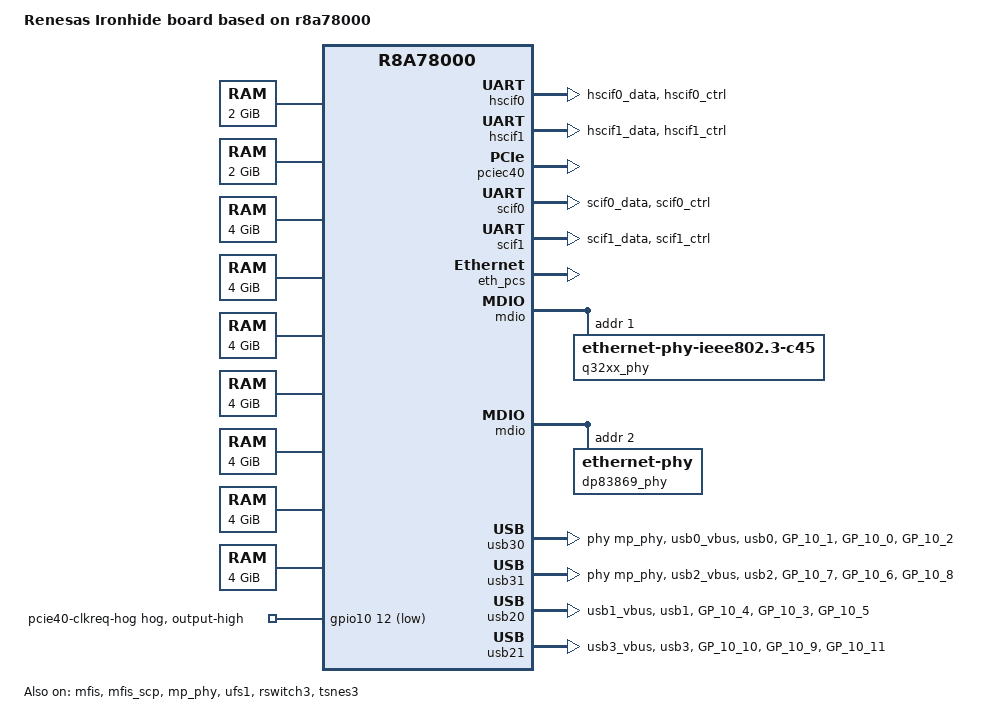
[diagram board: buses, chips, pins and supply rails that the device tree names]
// SPDX-License-Identifier: (GPL-2.0-only OR BSD-2-Clause)
/*
 * Device Tree Source for the Ironhide board
 *
 * Copyright (C) 2025 Renesas Electronics Corp.
 */

/dts-v1/;
#include <dt-bindings/phy/phy.h>
#include <dt-bindings/soc/renesas,r8a78000-mfis.h>
#include <dt-bindings/net/ti-dp83869.h>
#include "r8a78000.dtsi"

/ {
	model = "Renesas Ironhide board based on r8a78000";
	compatible = "renesas,ironhide", "renesas,r8a78000";

	aliases {
		serial0 = &hscif0;
		serial1 = &hscif1;
		serial2 = &scif0;	// FIXME
		serial3 = &scif1;	// FIXME
	};

	chosen {
		stdout-path = "serial0:1843200n8";
	};

	firmware {
		scmi: scmi {
			compatible = "arm,scmi";
			mboxes = <&mfis_scp 2 MFIS_CHANNEL_TX>,
				 <&mfis_scp 2 MFIS_CHANNEL_RX>;
			mbox-names = "tx", "rx";
			shmem = <&scmi_tx_shmem>, <&scmi_rx_shmem>;
			arm,no-completion-irq;
			#address-cells = <1>;
			#size-cells = <0>;

			scmi_devpd: protocol@11 {
				reg = <0x11>;
				#power-domain-cells = <1>;
			};

			scmi_sys: protocol@12 {
				reg = <0x12>;
			};

			scmi_clk: protocol@14 {
				reg = <0x14>;
				#clock-cells = <1>;
			};

			scmi_reset: protocol@16 {
				reg = <0x16>;
				#reset-cells = <1>;
			};
		};
	};

	memory@40000000 {
		device_type = "memory";
		reg = <0x0 0x40000000 0x0 0x80000000>;
	};

	memory@1080000000 {
		device_type = "memory";
		reg = <0x10 0x80000000 0x0 0x80000000>;
	};

	memory@1200000000 {
		device_type = "memory";
		reg = <0x12 0x00000000 0x1 0x00000000>;
	};

	memory@1400000000 {
		device_type = "memory";
		reg = <0x14 0x00000000 0x1 0x00000000>;
	};

	memory@1600000000 {
		device_type = "memory";
		reg = <0x16 0x00000000 0x1 0x00000000>;
	};

	memory@1800000000 {
		device_type = "memory";
		reg = <0x18 0x00000000 0x1 0x00000000>;
	};

	memory@1a00000000 {
		device_type = "memory";
		reg = <0x1a 0x00000000 0x1 0x00000000>;
	};

	memory@1c00000000 {
		device_type = "memory";
		reg = <0x1c 0x00000000 0x1 0x00000000>;
	};

	memory@1e00000000 {
		device_type = "memory";
		reg = <0x1e 0x00000000 0x1 0x00000000>;
	};

	reserved-memory {
		#address-cells = <2>;
		#size-cells = <2>;
		ranges;

		/* First 518 MiB is reserved for other purposes. */
		firmware@40000000 {
			reg = <0x0 0x40000000 0x0 0x20600000>;
			no-map;
		};

		/* Parameters set by IPL. */
		parameters@8c100000 {
			reg = <0x0 0x8c100000 0x0 0x00008000>;
			no-map;
		};

		/* TFA BL31. */
		tfa-bl31@8c200000 {
			reg = <0x0 0x8c200000 0x0 0x00080000>;
			no-map;
		};

		/* TEE TZ DRAM. */
		tee@8c400000 {
			reg = <0x0 0x8c400000 0x0 0x02000000>;
			no-map;
		};

		/* DRAM controller inline ECC areas */
		ecc@10cccc0000 {
			reg = <0x10 0xcccc0000 0x0 0x33340000>;
			no-map;
		};

		ecc@12cccc0000 {
			reg = <0x12 0xcccc0000 0x0 0x33340000>;
			no-map;
		};

		ecc@14cccc0000 {
			reg = <0x14 0xcccc0000 0x0 0x33340000>;
			no-map;
		};

		ecc@16cccc0000 {
			reg = <0x16 0xcccc0000 0x0 0x33340000>;
			no-map;
		};

		ecc@18cccc0000 {
			reg = <0x18 0xcccc0000 0x0 0x33340000>;
			no-map;
		};

		ecc@1a66660000 {
			reg = <0x1a 0x66660000 0x0 0x999a0000>;
			no-map;
		};

		ecc@1c66660000 {
			reg = <0x1c 0x66660000 0x0 0x999a0000>;
			no-map;
		};

		ecc@1e66660000 {
			reg = <0x1e 0x66660000 0x0 0x999a0000>;
			no-map;
		};
	};

	mailbox_test_send_to_recv {
		compatible = "mailbox-test";
		reg = <0x0 0xc1000000 0x0 0x100>;
		mboxes = <&mfis 0 (MFIS_CHANNEL_IICR | MFIS_CHANNEL_TX)>,
			 <&mfis 0 (MFIS_CHANNEL_EICR | MFIS_CHANNEL_RX)>;
		mbox-names = "tx", "rx";
	 };

	mailbox_test_recv_to_send {
		compatible = "mailbox-test";
		reg = <0x0 0xc1000100 0x0 0x100>;
		mboxes = <&mfis 0 (MFIS_CHANNEL_EICR | MFIS_CHANNEL_TX)>,
			 <&mfis 0 (MFIS_CHANNEL_IICR | MFIS_CHANNEL_RX)>;
		mbox-names = "tx", "rx";
	 };
};

&cpg {
	firmware = <&scmi>;
};

&extal_clk {
	clock-frequency = <16666600>;
};

&extalr_clk {
	clock-frequency = <32768>;
};

&hscif0 {
	pinctrl-0 = <&hscif0_pins>;
	pinctrl-names = "default";

	uart-has-rtscts;
	status = "okay";
};

&hscif1 {
	pinctrl-0 = <&hscif1_pins>;
	pinctrl-names = "default";

	uart-has-rtscts;
	status = "okay";
};

&mdlc_aon {
	firmware = <&scmi>;
};

&mdlc_cmnn {
	firmware = <&scmi>;
};

&mdlc_cmns {
	firmware = <&scmi>;
};

&mdlc_ddr0 {
	firmware = <&scmi>;
};

&mdlc_ddr1 {
	firmware = <&scmi>;
};

&mdlc_ddr2 {
	firmware = <&scmi>;
};

&mdlc_ddr3 {
	firmware = <&scmi>;
};

&mdlc_ddr4 {
	firmware = <&scmi>;
};

&mdlc_ddr5 {
	firmware = <&scmi>;
};

&mdlc_ddr6 {
	firmware = <&scmi>;
};

&mdlc_ddr7 {
	firmware = <&scmi>;
};

&mdlc_dsp {
	firmware = <&scmi>;
};

&mdlc_gpc {
	firmware = <&scmi>;
};

&mdlc_hscn {
	firmware = <&scmi>;
};

&mdlc_hscs {
	firmware = <&scmi>;
};

&mdlc_imn {
	firmware = <&scmi>;
};

&mdlc_ims {
	firmware = <&scmi>;
};

&mdlc_mm {
	firmware = <&scmi>;
};

&mdlc_npu0 {
	firmware = <&scmi>;
};

&mdlc_npu1 {
	firmware = <&scmi>;
};

&mdlc_pere {
	firmware = <&scmi>;
};

&mdlc_perw {
	firmware = <&scmi>;
};

&mdlc_rt {
	firmware = <&scmi>;
};

&mdlc_scp {
	firmware = <&scmi>;
};

&mdlc_top {
	firmware = <&scmi>;
};

&mdlc_vio {
	firmware = <&scmi>;
};

&mdlc_vipn {
	firmware = <&scmi>;
};

&mdlc_vips {
	firmware = <&scmi>;
};

&mfis {
	status = "okay";
};

&mfis_scp {
	status = "okay";
};

&gpio10 {
	pcie40-clkreq-hog {
		gpio-hog;
		gpios = <12 1>;
		output-high;
	};
};

&mp_phy {
	renesas,num-lanes = <4 4 0 0>;
	renesas,phy-type = <PHY_TYPE_PCIE 0>, <PHY_TYPE_PCIE 0>,
			   <PHY_TYPE_XPCS 2>, <PHY_TYPE_USB3 1>;
	renesas,external-ref-clock = <1 1 1 1>;
	renesas,output-repeat-ref-clock = <0 0 0 0>;
	status = "okay";
};

&pcie40_clkref {
	clock-frequency = <100000000>;
};

&pciec40 {
	status = "okay";
};

&pciec40_rp {
	resets = <&scmi_reset 815>; /* R8A78000_SCMI_RESET_U266_PCIE4 */
	reset-names = "perst";
};

&pfc {
	pinctrl-0 = <&scif_clk_pins>;
	pinctrl-names = "default";

	hscif0_pins: hscif0 {
		groups = "hscif0_data", "hscif0_ctrl";
		function = "hscif0";
	};

	hscif1_pins: hscif1 {
		groups = "hscif1_data", "hscif1_ctrl";
		function = "hscif1";
	};

	scif0_pins: scif0 {
		groups = "scif0_data", "scif0_ctrl";
		function = "scif0";
	};

	scif1_pins: scif1 {
		groups = "scif1_data", "scif1_ctrl";
		function = "scif1";
	};

	scif_clk_pins: scif-clk {
		groups = "scif_clk";
		function = "scif_clk";
	};
};

&scif_clk {
	clock-frequency = <26000000>;
};

&scif0 {
	pinctrl-0 = <&scif0_pins>;
	pinctrl-names = "default";

	uart-has-rtscts;
	//status = "okay";	// FIXME Mutually-exclusive with hscif0
};

&scif1 {
	pinctrl-0 = <&scif1_pins>;
	pinctrl-names = "default";

	uart-has-rtscts;
	//status = "okay";	// FIXME Mutually-exclusive with hscif1
};

&stcm_transport {
	scmi_tx_shmem: sram@1200 {
		compatible = "arm,scmi-shmem";
		reg = <0x1200 0x0100>;
	};

	scmi_rx_shmem: sram@1300 {
		compatible = "arm,scmi-shmem";
		reg = <0x1300 0x100>;
	};
};

&ufs1_ref_clk {
	clock-frequency = <52000000>;
};

&ufs1 {
	status = "okay";
};

&pfc {
	eth25g2_pins: eth25g2 {
		groups = "eth25g2_mdio", "eth25g2_link", "eth25g2_phyint";
		function = "eth25g2";
		drive-strength = <24>;
	};

	ethes0_pins: ethes0 {
		groups = "ethes0_match", "ethes0_capture", "ethes0_pps";
		function = "ethes0";
		drive-strength = <24>;
	};

	rsw3_pins: rsw3 {
		groups = "rsw3_match", "rsw3_capture", "rsw3_pps";
		function = "rsw3";
		drive-strength = <24>;
	};

	usb30_pins: usb0 {
		//groups = "usb0_vbus", "usb0";
		//function = "usb0";
		mux {
			groups = "usb0_vbus", "usb0";
			function = "usb0";
		};

		ovc {
			pins = "GP_10_1";
			bias-pull-down;
		};

		pwen {
			pins = "GP_10_0";
			bias-pull-up;
		};

		vbus {
			pins = "GP_10_2";
			bias-pull-up;
		};
	};

	usb20_pins: usb1 {
		//groups = "usb1_vbus", "usb1";
		//function = "usb1";
		mux {
			groups = "usb1_vbus", "usb1";
			function = "usb1";
		};

		ovc {
			pins = "GP_10_4";
			bias-pull-down;
		};

		pwen {
			pins = "GP_10_3";
			bias-pull-up;
		};

		vbus {
			pins = "GP_10_5";
			bias-pull-up;
		};
	};

	usb31_pins: usb2 {
		//groups = "usb2_vbus", "usb2";
		//function = "usb2";
		mux {
			groups = "usb2_vbus", "usb2";
			function = "usb2";
		};

		ovc {
			pins = "GP_10_7";
			bias-pull-down;
		};

		pwen {
			pins = "GP_10_6";
			bias-pull-up;
		};

		vbus {
			pins = "GP_10_8";
			bias-pull-up;
		};
	};

	usb21_pins: usb3 {
		//groups = "usb3_vbus", "usb3";
		//function = "usb3";
		mux {
			groups = "usb3_vbus", "usb3";
			function = "usb3";
		};

		ovc {
			pins = "GP_10_10";
			bias-pull-down;
		};

		pwen {
			pins = "GP_10_9";
			bias-pull-up;
		};

		vbus {
			pins = "GP_10_11";
			bias-pull-up;
		};
	};
};

&eth_pcs {
	status = "okay";

	ports {
		#address-cells = <1>;
		#size-cells = <0>;

		port@4 {
			reg = <4>;
			phys = <&mp_phy 2 0>;
		};

		port@5 {
			reg = <5>;
			phys = <&mp_phy 2 1>;
		};
	};
};

&rsw3_clk {
	clock-frequency = <66660000>;
};

&rswitch3 {
	status = "okay";
	pinctrl-0 = <&eth25g2_pins>, <&ethes0_pins>;
	pinctrl-names = "default";

	ethernet-ports {
		#address-cells = <1>;
		#size-cells = <0>;

		// TODO: Add more ports (e.g., port@0, port@1) as needed
		port@4 {
			reg = <4>;
			renesas,etha-mii-chan = <4>;
			phy-handle = <&q32xx_phy>;
			phy-mode = "usxgmii";
			phys = <&eth_pcs 4>;
			max-speed = <10000>;

			mdio {
				#address-cells = <1>;
				#size-cells = <0>;
				q32xx_phy: ethernet-phy@1 {
					reg = <1>;
					compatible = "ethernet-phy-ieee802.3-c45";
				};
			};
		};

		port@5 {
			reg = <5>;
			renesas,etha-mii-chan = <4>;
			renesas,connect_to_xpcs;
			phy-handle = <&dp83869_phy>;
			phy-mode = "sgmii";
			phys = <&eth_pcs 5>;

			mdio {
				#address-cells = <1>;
				#size-cells = <0>;
				dp83869_phy: ethernet-phy@2 {
					reg = <2>;
					ti,sgmii-interface;
					ti,max-output-impedance;
					ti,refclk-output-enable;
					ti,clk-output-sel = <DP83869_CLK_O_SEL_REF_CLK>;
				};
			};
		};

		/* Example stub for future ports */
		//	port@5 {
		//	reg = <5>;
		//	phy-handle = <&mv_phy5>;
		//	phy-mode = "usxgmii";
		//	local-mac-address = [xx xx xx xx xx xx];
		//	phys = <&eth_pcs X>;
		//	...
		// };
	};
};

&tsnes3 {
	status = "okay";
};

&usb30 {
	status = "okay";
	pinctrl-0 = <&usb30_pins>;
	pinctrl-names = "default";
	phys = <&mp_phy 3 0>;
	phy-names = "usb3-phy";

	dwc3_usb30@c8800000 {
		compatible = "synopsys,dwc3";
		reg = <0x0 0xc8800000 0x0 0x100000>;
		interrupts = <GIC_SPI 795 IRQ_TYPE_LEVEL_HIGH>;
		maximum-speed = "high-speed";
		dr_mode = "host";
	};
};

&usb31 {
	status = "okay";
	pinctrl-0 = <&usb31_pins>;
	pinctrl-names = "default";
	phys = <&mp_phy 3 1>;
	phy-names = "usb3-phy";

	dwc3_usb31@c8a00000 {
		compatible = "synopsys,dwc3";
		reg = <0x0 0xc8a00000 0x0 0x100000>;
		interrupts = <GIC_SPI 797 IRQ_TYPE_LEVEL_HIGH>;
		maximum-speed = "super-speed-plus";
		dr_mode = "host";

		snps,host-vbus-glitches-quirk;
	};
};

&usb20 {
	status = "okay";
	pinctrl-0 = <&usb20_pins>;
	pinctrl-names = "default";

	dwc3_usb20@c8900000 {
		compatible = "synopsys,dwc3";
		reg = <0x0 0xc8900000 0x0 0x100000>;
		interrupts = <GIC_SPI 796 IRQ_TYPE_LEVEL_HIGH>;
		maximum-speed = "high-speed";
		dr_mode = "host";
	};
};

&usb21 {
	status = "okay";
	pinctrl-0 = <&usb21_pins>;
	pinctrl-names = "default";

	dwc3_usb21@c8b00000 {
		compatible = "synopsys,dwc3";
		reg = <0x0 0xc8b00000 0x0 0x100000>;
		interrupts = <GIC_SPI 798 IRQ_TYPE_LEVEL_HIGH>;
		maximum-speed = "high-speed";
		dr_mode = "host";
	};
};
